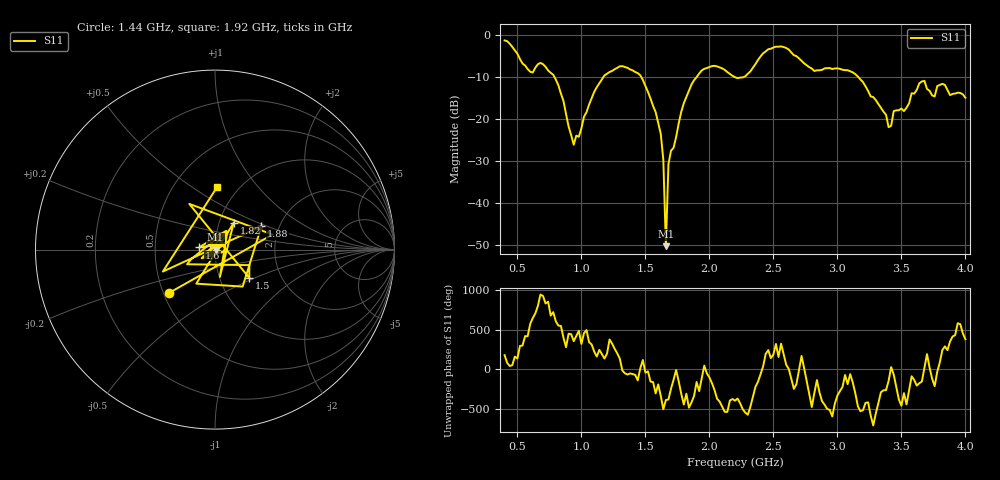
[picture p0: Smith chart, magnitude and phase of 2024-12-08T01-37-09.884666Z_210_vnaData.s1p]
!Created with skrf (http://scikit-rf.org).
# Hz S RI R 50.0
!freq ReS11 ImS11
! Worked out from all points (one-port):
!   181 points, 400 MHz to 4 GHz, reference 50 ohm
!   lowest |S11| = -50.2 dB at 1.66 GHz (marker M1), VSWR 1.01, Z = 50.3 - j0.124 ohm
!   |S11| at or under -10 dB: 789.5 MHz to 1.172 GHz (382.5 MHz wide, 39 % of centre); 1.467 GHz to 1.901 GHz (433.2 MHz wide, 25.7 % of centre); 3.163 GHz to end of sweep (the widest 3 of 4)
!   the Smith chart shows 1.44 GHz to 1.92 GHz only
!   S11 on the Smith chart (normalised r, x): 1.44 GHz: 0.54, -0.30; 1.5 GHz: 1.38, -0.46; 1.6 GHz: 0.84, +0.02; 1.82 GHz: 1.17, +0.36; 1.88 GHz: 1.62, +0.46; 1.92 GHz: 0.80, +0.63
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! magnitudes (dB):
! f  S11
! 400 MHz  -1.3
! 600 MHz  -8.7
! 720 MHz  -7.6
! 860 MHz  -15.7
! 940 MHz  -26.1
! 1.12 GHz  -12.4
! 1.3 GHz  -7.5
! 1.44 GHz  -9.1
! 1.5 GHz  -12.1
! 1.6 GHz  -20.9
! 1.64 GHz  -29.7
! 1.66 GHz  -50.2
! 1.68 GHz  -30.7
! 1.76 GHz  -21.0
! 1.82 GHz  -14.7
! 1.88 GHz  -10.8
! 1.92 GHz  -9.2
! 2.2 GHz  -10.0
! 2.46 GHz  -3.4
! 2.66 GHz  -4.8
! 3.1 GHz  -8.6
! 3.4 GHz  -21.9
! 3.44 GHz  -18.1
! 3.56 GHz  -16.3
! 3.68 GHz  -10.9
! 3.76 GHz  -14.6
! 3.82 GHz  -11.6
! 4 GHz  -14.9
